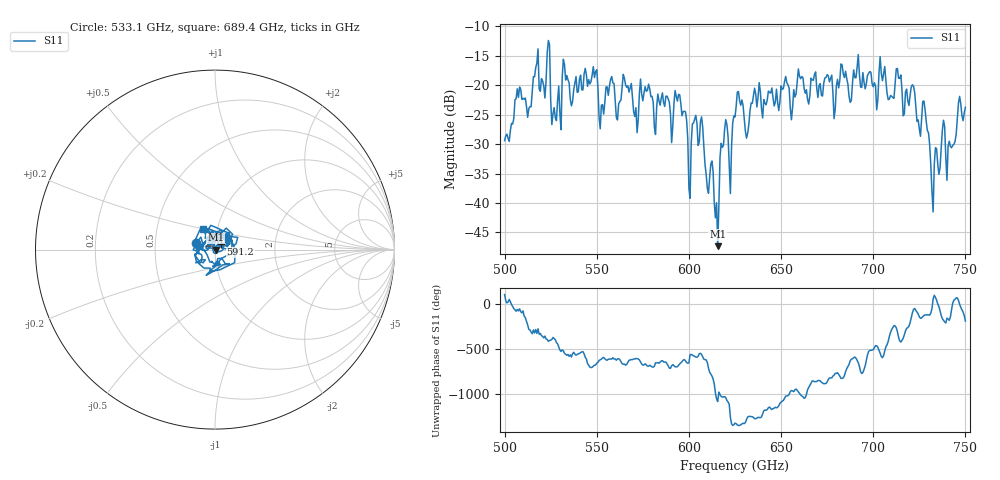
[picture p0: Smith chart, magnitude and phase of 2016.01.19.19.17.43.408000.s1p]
!Created with skrf (http://scikit-rf.org).
# GHz S RI R 50.0
!freq ReS11 ImS11
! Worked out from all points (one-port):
!   401 points, 500 GHz to 750 GHz, reference 50 ohm
!   lowest |S11| = -47.3 dB at 615.6 GHz (marker M1), VSWR 1.01, Z = 50.4 - j0.0675 ohm
!   |S11| at or under -10 dB: start of sweep to end of sweep
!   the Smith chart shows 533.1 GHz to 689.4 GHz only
!   S11 on the Smith chart (normalised r, x): 533.1 GHz: 0.81, +0.06; 591.2 GHz: 1.06, +0.07; 689.4 GHz: 0.85, +0.20
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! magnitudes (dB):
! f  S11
! 500 GHz  -29.4
! 507.5 GHz  -22.1
! 513.1 GHz  -24.0
! 516.9 GHz  -17.0
! 523.8 GHz  -12.4
! 526.9 GHz  -23.8
! 531.2 GHz  -18.7
! 533.1 GHz  -19.1
! 562.5 GHz  -22.8
! 591.2 GHz  -26.9
! 593.8 GHz  -22.7
! 600 GHz  -37.5
! 603.1 GHz  -25.8
! 606.9 GHz  -25.4
! 615.6 GHz  -47.3
! 618.8 GHz  -30.2
! 622.5 GHz  -38.4
! 625 GHz  -25.4
! 631.2 GHz  -29.0
! 652.5 GHz  -18.5
! 656.2 GHz  -23.8
! 660.6 GHz  -18.9
! 687.5 GHz  -22.9
! 689.4 GHz  -17.4
! 718.8 GHz  -22.7
! 728.1 GHz  -24.2
! 732.5 GHz  -41.5
! 750 GHz  -23.8
